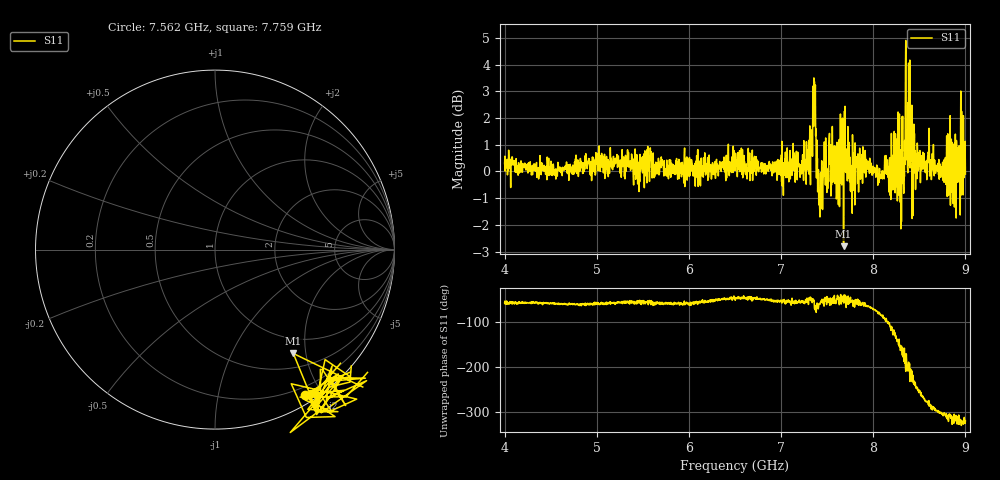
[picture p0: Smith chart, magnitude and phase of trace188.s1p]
! Created with skrf 1.8.0 (http://scikit-rf.org).
# Hz S RI R 50.0
!freq ReS11 ImS11
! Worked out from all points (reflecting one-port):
!   1601 points, 4 GHz to 9 GHz, reference 50 ohm
!   lowest |S11| = -2.8 dB at 7.678 GHz (marker M1), VSWR 6.27, Z = 36.4 - j88.7 ohm
!   phase of S11 starts at -57 deg and turns -263 deg over the sweep
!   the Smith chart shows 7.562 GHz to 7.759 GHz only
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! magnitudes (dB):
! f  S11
! 4 GHz  0.3
! 4.625 GHz  -0.2
! 5.25 GHz  0.0
! 5.875 GHz  0.3
! 6.5 GHz  0.2
! 7.125 GHz  0.5
! 7.297 GHz  0.8
! 7.316 GHz  0.2
! 7.353 GHz  1.7
! 7.369 GHz  2.7
! 7.4 GHz  -0.4
! 7.425 GHz  -0.4
! 7.462 GHz  -0.2
! 7.534 GHz  0.3
! 7.609 GHz  -0.4
! 7.65 GHz  0.8
! 7.678 GHz  -2.8
! 7.75 GHz  0.4
! 8.075 GHz  -0.1
! 8.266 GHz  0.6
! 8.312 GHz  2.0
! 8.334 GHz  0.5
! 8.35 GHz  3.8
! 8.375 GHz  0.0
! 8.447 GHz  1.4
! 8.875 GHz  0.9
! 8.972 GHz  0.4
! 9 GHz  -0.1
